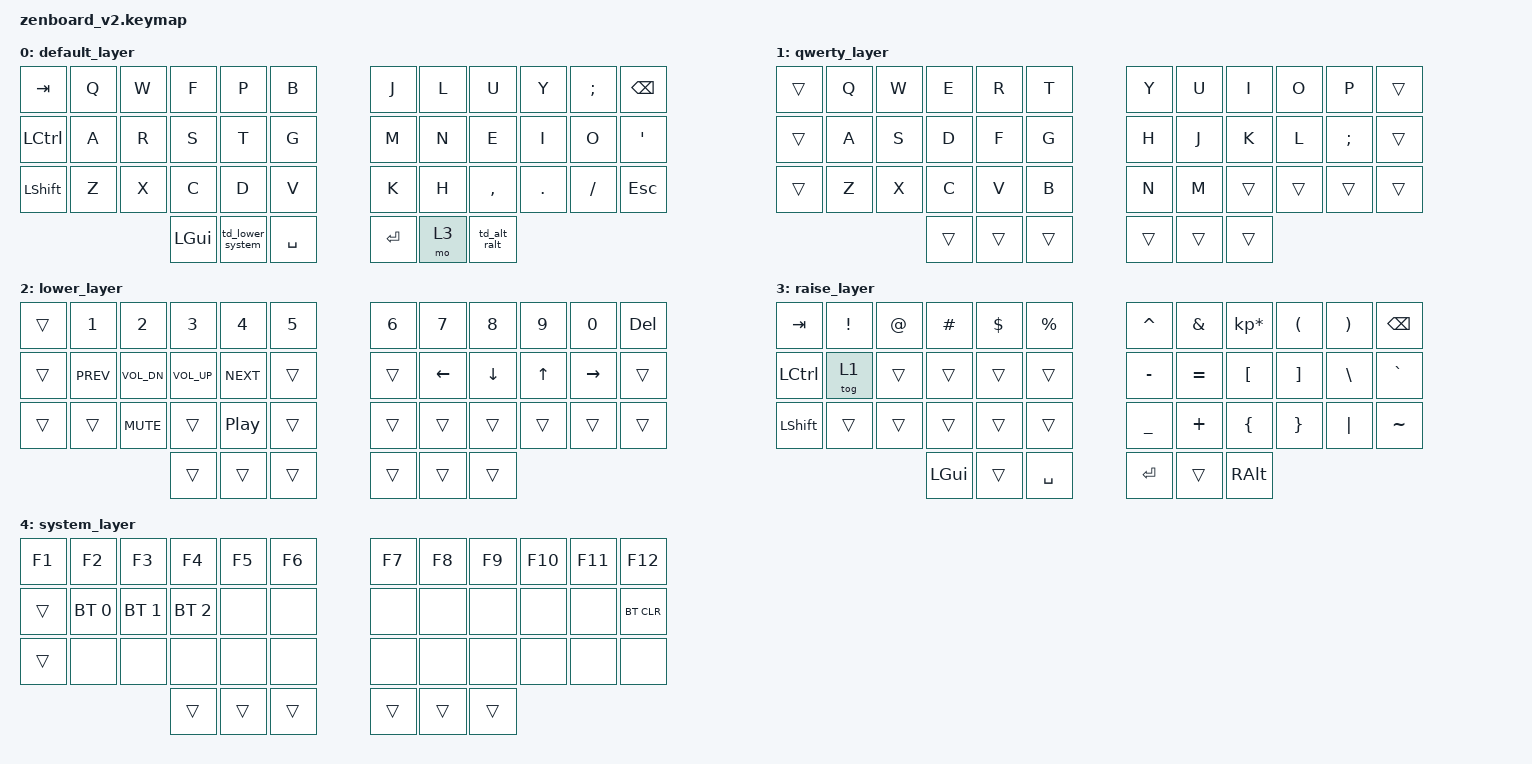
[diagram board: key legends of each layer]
/*
 * Copyright (c) 2020 The ZMK Contributors
 *
 * SPDX-License-Identifier: MIT
 */

#include <behaviors.dtsi>
#include <dt-bindings/zmk/keys.h>
#include <dt-bindings/zmk/bt.h>

/ {
        behaviors {
            td_alt_ralt: tap_dance_alt_ralt {
                compatible = "zmk,behavior-tap-dance";
                label = "tap_dance_alt_ralt";
                #binding-cells = <0>;
                tapping-term-ms = <200>;
                bindings = <&kp LALT>, <&kp RALT>;
            };
            td_lower_system: tap_dance_lower_system {
                compatible = "zmk,behavior-tap-dance";
                label = "tap_dance_lower_system";
                #binding-cells = <0>;
                tapping-term-ms = <200>;
                bindings = <&mo 2>, <&mo 4>;
            };
        };

        keymap {
                compatible = "zmk,keymap";

                default_layer { // 0
// -----------------------------------------------------------------------------------------
// |  TAB |  Q  |  W  |  F  |  P  |  B  |   |  J  |  L   |  U  |  Y  |  ;  | BKSP |
// | CTRL |  A  |  R  |  S  |  T  |  G  |   |  M  |  N   |  E  |  I  |  O  |  '   |
// | SHFT |  Z  |  X  |  C  |  D  |  V  |   |  K  |  H   |  ,  |  .  |  /  | ESC  |
//                    | GUI | LWR | SPC |   | ENT | RSE  | ALT |
                        bindings = <
   &kp TAB   &kp Q &kp W &kp F &kp P &kp B   &kp J &kp L  &kp U     &kp Y   &kp SEMI &kp BSPC
   &kp LCTRL &kp A &kp R &kp S &kp T &kp G   &kp M &kp N  &kp E     &kp I   &kp O    &kp SQT
   &kp LSHFT &kp Z &kp X &kp C &kp D &kp V   &kp K &kp H  &kp COMMA &kp DOT &kp FSLH &kp ESC
                  &kp LGUI &td_lower_system &kp SPACE   &kp RET &mo 3 &td_alt_ralt
                        >;
                };

                qwerty_layer { // 1
// -----------------------------------------------------------------------------------------
// |      |  Q  |  W  |  E  |  R  |  T  |   |  Y  |  U   |  I  |  O  |  P  |      |
// |      |  A  |  S  |  D  |  F  |  G  |   |  H  |  J   |  K  |  L  |  ;  |      |
// |      |  Z  |  X  |  C  |  V  |  B  |   |  N  |  M   |  v  |     |     |      |
//                    |     |     |     |   |     |      |     |
                        bindings = <
   &trans    &kp Q &kp W &kp E &kp R &kp T   &kp Y &kp U  &kp I     &kp O   &kp P    &trans
   &trans    &kp A &kp S &kp D &kp F &kp G   &kp H &kp J  &kp K     &kp L   &kp SEMI &trans
   &trans    &kp Z &kp X &kp C &kp V &kp B   &kp N &kp M  &trans    &trans  &trans &trans
                  &trans &trans &trans        &trans &trans &trans
                        >;
                };

                lower_layer { // 2
// -----------------------------------------------------------------------------------------
// |      |  1  |  2  |  3  |  4  |  5  |   |  6  |  7  |  8  |  9  |  0  |  DEL |
// |      | MPRV| VDWN|  VUP| MNXT|     |   |     | LFT | DWN |  UP | RGT |      |
// |      |     | MUT |     | MPLY|     |   |     |     |     |     |     |      |
//                    |     |     |     |   |     |     |     |
                        bindings = <
   &trans     &kp N1       &kp N2           &kp N3          &kp N4              &kp N5      &kp N6   &kp N7   &kp N8    &kp N9      &kp N0      &kp DEL
   &trans     &kp C_PREV   &kp C_VOL_DN     &kp C_VOL_UP    &kp C_NEXT          &trans      &trans   &kp LEFT &kp DOWN  &kp UP      &kp RIGHT   &trans
   &trans     &trans       &kp C_MUTE       &trans          &kp C_PLAY_PAUSE    &trans      &trans   &trans   &trans    &trans      &trans      &trans
                &trans &trans &trans            &trans  &trans   &trans
                        >;
                };

                raise_layer { // 3
// -----------------------------------------------------------------------------------------
// |  TAB |  !  |  @  |  #  |  $  |  %  |   |  ^  |  &  |  *  |  (  |  )  | BKSP |
// | CTRL |QWRTY|     |     |     |     |   |  -  |  =  |  [  |  ]  |  \  |  `   |
// | SHFT |     |     |     |     |     |   |  _  |  +  |  {  |  }  | "|" |  ~   |
//                    | GUI |     | SPC |   | ENT |     | ALT |
                        bindings = <
   &kp  TAB  &kp EXCL &kp AT &kp HASH &kp DLLR &kp PRCNT   &kp CARET &kp AMPS  &kp KP_MULTIPLY &kp LPAR &kp RPAR &kp BSPC
   &kp LCTRL &tog 1   &trans &trans   &trans   &trans      &kp MINUS &kp EQUAL &kp LBKT        &kp RBKT &kp BSLH &kp GRAVE
   &kp LSHFT &trans   &trans &trans   &trans   &trans      &kp UNDER &kp PLUS  &kp LBRC        &kp RBRC &kp PIPE &kp TILDE
                             &kp LGUI &trans   &kp SPACE   &kp RET   &trans    &kp RALT
                        >;
                };

                system_layer { // 4
// -----------------------------------------------------------------------------------------
// |   F1 |  F2 | F3  | F4  | F5  | F6  |   | F7  | F8  | F9  | F10 | F11 |  F12 |
// |      | BT0 | BT1 | BT2 |     |     |   |     |     |     |     |     | BTCLR|
// |      |     |     |     |     |     |   |     |     |     |     |     |      |
//                    |     |     |     |   |     |     |     |
                        bindings = <
   &kp F1 &kp F2 &kp F3 &kp F4 &kp F5 &kp F6    &kp F7 &kp F8 &kp F9 &kp F10 &kp F11 &kp F12
   &trans    &bt BT_SEL 0 &bt BT_SEL 1 &bt BT_SEL 2 &none  &none       &none     &none           &none           &none           &none       &bt BT_CLR
   &trans    &none        &none        &none        &none  &none       &none     &none           &none           &none           &none       &none
               &trans     &trans    &trans         &trans &trans   &trans
                        >;
                };
        };
};
